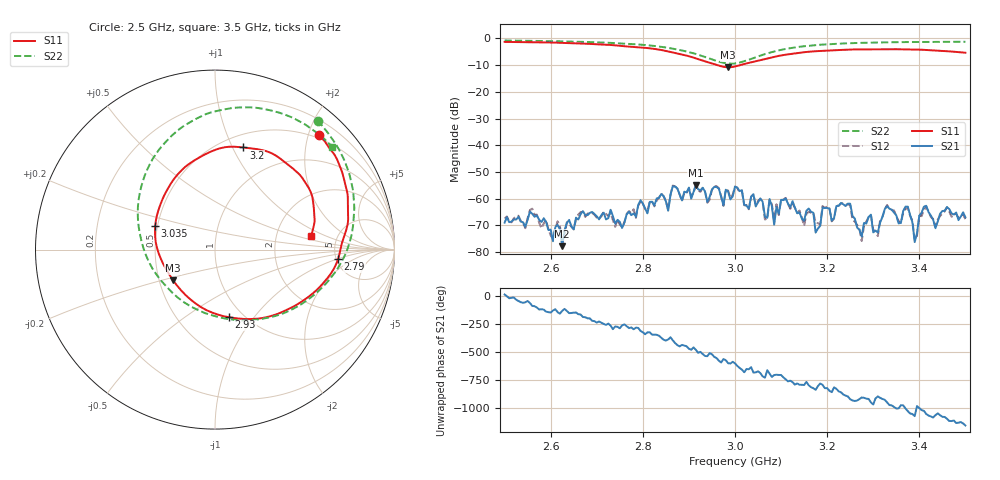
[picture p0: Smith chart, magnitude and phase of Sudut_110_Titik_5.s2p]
# Hz S RI R 50
! CMT, C1220, 16058040, 17.2.0/1
! Date: 15/08/2018 10:24:19
! Data: Format (Calibration Info)
! Freq  S11: Re/Im (F2)  S21: Re/Im (F2)  S12: Re/Im (F2)  S22: Re/Im (F2)
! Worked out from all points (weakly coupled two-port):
!   201 points, 2.5 GHz to 3.5 GHz, reference 50 ohm
!   highest |S21| = -54.80 dB at 2.915 GHz (marker M1); lowest = -77.8 dB at 2.625 GHz (marker M2)
!   lowest |S11| = -10.8 dB at 2.985 GHz (marker M3), VSWR 1.82, Z = 29.5 - j11 ohm
!   |S11| at or under -10 dB: 2.962 GHz to 3.011 GHz (49.24 MHz wide, 1.65 % of centre)
!   |S22| runs from -9.4 to -0.7 dB; largest |S21 - S12| = 0.00014
!   S11 on the Smith chart (normalised r, x): 2.5 GHz: 0.44, +2.20; 2.79 GHz: 5.18, -1.05; 2.93 GHz: 0.86, -0.76; 3.035 GHz: 0.49, +0.15; 3.2 GHz: 0.63, +1.10; 3.5 GHz: 3.20, +0.67
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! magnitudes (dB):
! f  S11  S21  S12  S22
! 2.5 GHz  -1.3  -68.9  -67.4  -0.7
! 2.625 GHz  -1.6  -77.8  -76.3  -1.1
! 2.67 GHz  -1.9  -64.7  -65.0  -1.3
! 2.755 GHz  -2.8  -70.9  -70.5  -1.9
! 2.79 GHz  -3.3  -62.3  -62.6  -2.2
! 2.835 GHz  -4.2  -59.7  -59.6  -3.0
! 2.915 GHz  -7.5  -54.8  -55.4  -5.8
! 2.93 GHz  -8.3  -55.9  -55.9  -6.6
! 2.985 GHz  -10.8  -57.3  -56.9  -9.4
! 3 GHz  -10.5  -55.5  -55.4  -9.4
! 3.035 GHz  -8.9  -59.2  -59.2  -7.7
! 3.085 GHz  -6.8  -69.7  -68.0  -4.9
! 3.1 GHz  -6.3  -60.4  -60.4  -4.3
! 3.17 GHz  -4.8  -65.2  -65.2  -2.5
! 3.2 GHz  -4.6  -63.5  -62.8  -2.2
! 3.25 GHz  -4.1  -61.9  -62.4  -1.8
! 3.275 GHz  -4.1  -74.2  -75.8  -1.6
! 3.335 GHz  -4.0  -63.7  -63.8  -1.4
! 3.375 GHz  -4.1  -62.9  -63.3  -1.3
! 3.39 GHz  -4.1  -76.2  -75.5  -1.3
! 3.41 GHz  -4.3  -63.0  -64.2  -1.3
! 3.5 GHz  -5.3  -66.9  -67.6  -1.2
